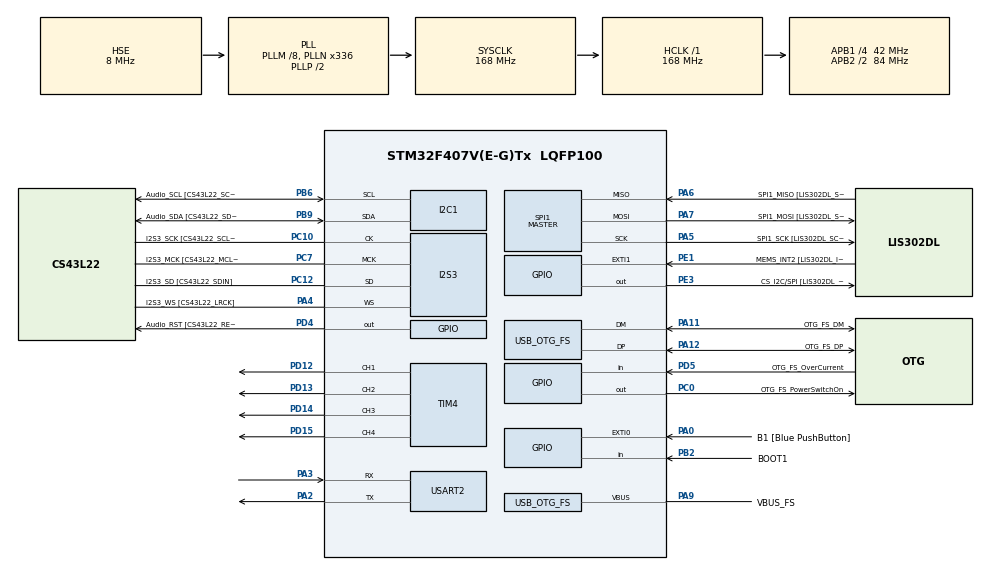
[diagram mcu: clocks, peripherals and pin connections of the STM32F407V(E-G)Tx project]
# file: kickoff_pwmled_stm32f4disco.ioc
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I2S3.AudioFreq-Half_Duplex_Master=I2S_AUDIOFREQ_96K
I2S3.ErrorAudioFreq=-2.34 %
I2S3.ErrorAudioFreq-Half_Duplex_Master=0.8 %
I2S3.FullDuplexMode=I2S_FULLDUPLEXMODE_DISABLE
I2S3.Instance=SPI$Index
I2S3.RealAudioFreq=93.75 KHz
I2S3.RealAudioFreq-Half_Duplex_Master=96.774 KHz
I2S3.VirtualMode=I2S_MODE_MASTER
Mcu.Family=STM32F4
Mcu.Name=STM32F407V(E-G)Tx
Mcu.Package=LQFP100
NVIC.OTG_FS_IRQn=true\:0\:0\:false\:false\:true\:true\:true
NVIC.PriorityGroup=NVIC_PRIORITYGROUP_0
NVIC.TIM2_IRQn=true\:0\:0\:false\:false\:true\:true\:true
NVIC.USART2_IRQn=true\:0\:0\:false\:false\:true\:true\:true
PA0-WKUP.GPIO_Label=B1 [Blue PushButton]
PA0-WKUP.GPIO_ModeDefaultEXTI=GPIO_MODE_EVT_RISING
PA0-WKUP.GPIO_PuPd=GPIO_NOPULL
PA0-WKUP.Signal=GPXTI0
PA10.GPIO_Label=OTG_FS_ID
PA10.GPIO_Mode=GPIO_MODE_AF_PP
PA10.GPIO_PuPd=GPIO_NOPULL
PA10.GPIO_Speed=GPIO_SPEED_FREQ_LOW
PA10.Signal=USB_OTG_FS_ID
PA11.GPIO_Label=OTG_FS_DM
PA11.GPIO_Mode=GPIO_MODE_AF_PP
PA11.GPIO_PuPd=GPIO_NOPULL
PA11.GPIO_Speed=GPIO_SPEED_FREQ_LOW
PA11.Mode=Host_Only
PA11.Signal=USB_OTG_FS_DM
PA12.GPIO_Label=OTG_FS_DP
PA12.GPIO_Mode=GPIO_MODE_AF_PP
PA12.GPIO_PuPd=GPIO_NOPULL
PA12.GPIO_Speed=GPIO_SPEED_FREQ_LOW
PA12.Mode=Host_Only
PA12.Signal=USB_OTG_FS_DP
PA13.GPIO_Label=SWDIO
PA13.Mode=Serial_Wire
PA13.Signal=SYS_JTMS-SWDIO
PA14.GPIO_Label=SWCLK
PA14.Mode=Serial_Wire
PA14.Signal=SYS_JTCK-SWCLK
PA2.Mode=Asynchronous
PA2.Signal=USART2_TX
PA3.Mode=Asynchronous
PA3.Signal=USART2_RX
PA4.GPIO_Label=I2S3_WS [CS43L22_LRCK]
PA4.GPIO_Mode=GPIO_MODE_AF_PP
PA4.GPIO_PuPd=GPIO_NOPULL
PA4.GPIO_Speed=GPIO_SPEED_FREQ_LOW
PA4.Mode=Half_Duplex_Master
PA4.Signal=I2S3_WS
PA5.GPIO_Label=SPI1_SCK [LIS302DL_SCL/SPC]
PA5.GPIO_Mode=GPIO_MODE_AF_PP
PA5.GPIO_PuPd=GPIO_NOPULL
PA5.GPIO_Speed=GPIO_SPEED_FREQ_LOW
PA5.Mode=Full_Duplex_Master
PA5.Signal=SPI1_SCK
PA6.GPIO_Label=SPI1_MISO [LIS302DL_SDO]
PA6.GPIO_Mode=GPIO_MODE_AF_PP
PA6.GPIO_PuPd=GPIO_NOPULL
PA6.GPIO_Speed=GPIO_SPEED_FREQ_LOW
PA6.Mode=Full_Duplex_Master
PA6.Signal=SPI1_MISO
PA7.GPIO_Label=SPI1_MOSI [LIS302DL_SDA/SDI/SDO]
PA7.GPIO_Mode=GPIO_MODE_AF_PP
PA7.GPIO_PuPd=GPIO_NOPULL
PA7.GPIO_Speed=GPIO_SPEED_FREQ_LOW
PA7.Mode=Full_Duplex_Master
PA7.Signal=SPI1_MOSI
PA9.GPIO_Label=VBUS_FS
PA9.GPIO_Mode=GPIO_MODE_INPUT
PA9.GPIO_PuPd=GPIO_NOPULL
PA9.Mode=Activate_VBUS
PA9.Signal=USB_OTG_FS_VBUS
PB10.GPIO_Label=CLK_IN [MP45DT02_CLK]
PB10.GPIO_Mode=GPIO_MODE_AF_PP
PB10.GPIO_PuPd=GPIO_NOPULL
PB10.GPIO_Speed=GPIO_SPEED_FREQ_LOW
PB10.Signal=I2S2_CK
PB2.GPIO_Label=BOOT1
PB2.GPIO_Mode=GPIO_MODE_INPUT
PB2.GPIO_PuPd=GPIO_NOPULL
PB2.Signal=GPIO_Input
PB3.GPIO_Label=SWO
PB3.Signal=SYS_JTDO-SWO
PB6.GPIO_Label=Audio_SCL [CS43L22_SCL]
PB6.GPIO_Mode=GPIO_MODE_AF_OD
PB6.GPIO_PuPd=GPIO_NOPULL
PB6.GPIO_Speed=GPIO_SPEED_FREQ_LOW
PB6.Mode=I2C
PB6.Signal=I2C1_SCL
PB9.GPIO_Label=Audio_SDA [CS43L22_SDA]
PB9.GPIO_Mode=GPIO_MODE_AF_OD
PB9.GPIO_PuPd=GPIO_NOPULL
PB9.GPIO_Speed=GPIO_SPEED_FREQ_LOW
PB9.Mode=I2C
PB9.Signal=I2C1_SDA
PC0.GPIO_Label=OTG_FS_PowerSwitchOn
PC0.GPIO_PuPd=GPIO_NOPULL
PC0.GPIO_Speed=GPIO_SPEED_FREQ_LOW
PC0.PinState=GPIO_PIN_SET
PC0.Signal=GPIO_Output
PC10.GPIO_Label=I2S3_SCK [CS43L22_SCLK]
PC10.GPIO_Mode=GPIO_MODE_AF_PP
PC10.GPIO_PuPd=GPIO_NOPULL
PC10.GPIO_Speed=GPIO_SPEED_FREQ_LOW
PC10.Mode=Half_Duplex_Master
PC10.Signal=I2S3_CK
PC12.GPIO_Label=I2S3_SD [CS43L22_SDIN]
PC12.GPIO_Mode=GPIO_MODE_AF_PP
PC12.GPIO_PuPd=GPIO_NOPULL
PC12.GPIO_Speed=GPIO_SPEED_FREQ_LOW
PC12.Mode=Half_Duplex_Master
PC12.Signal=I2S3_SD
PC14-OSC32_IN.GPIO_Label=PC14-OSC32_IN
PC14-OSC32_IN.Mode=LSE-External-Oscillator
PC14-OSC32_IN.Signal=RCC_OSC32_IN
PC15-OSC32_OUT.GPIO_Label=PC15-OSC32_OUT
PC15-OSC32_OUT.Mode=LSE-External-Oscillator
PC15-OSC32_OUT.Signal=RCC_OSC32_OUT
PC3.GPIO_Label=PDM_OUT [MP45DT02_DOUT]
PC3.GPIO_Mode=GPIO_MODE_AF_PP
PC3.GPIO_PuPd=GPIO_NOPULL
PC3.GPIO_Speed=GPIO_SPEED_FREQ_LOW
PC3.Signal=I2S2_SD
PC7.GPIO_Label=I2S3_MCK [CS43L22_MCLK]
PC7.GPIO_Mode=GPIO_MODE_AF_PP
PC7.GPIO_PuPd=GPIO_NOPULL
PC7.GPIO_Speed=GPIO_SPEED_FREQ_LOW
PC7.Mode=Master_Clock_Activated
PC7.Signal=I2S3_MCK
PD12.Signal=S_TIM4_CH1
PD13.Signal=S_TIM4_CH2
PD14.Signal=S_TIM4_CH3
PD15.Signal=S_TIM4_CH4
PD4.GPIO_Label=Audio_RST [CS43L22_RESET]
PD4.GPIO_PuPd=GPIO_NOPULL
PD4.GPIO_Speed=GPIO_SPEED_FREQ_LOW
PD4.Signal=GPIO_Output
PD5.GPIO_Label=OTG_FS_OverCurrent
PD5.GPIO_Mode=GPIO_MODE_INPUT
PD5.GPIO_PuPd=GPIO_NOPULL
PD5.Signal=GPIO_Input
PE1.GPIO_Label=MEMS_INT2 [LIS302DL_INT2]
PE1.GPIO_ModeDefaultEXTI=GPIO_MODE_EVT_RISING
PE1.GPIO_PuPd=GPIO_NOPULL
PE1.Signal=GPXTI1
PE3.GPIO_Label=CS_I2C/SPI [LIS302DL_CS_I2C/SPI]
PE3.GPIO_PuPd=GPIO_NOPULL
PE3.GPIO_Speed=GPIO_SPEED_FREQ_LOW
PE3.Signal=GPIO_Output
PH0-OSC_IN.GPIO_Label=PH0-OSC_IN
PH0-OSC_IN.Mode=HSE-External-Oscillator
PH0-OSC_IN.Signal=RCC_OSC_IN
PH1-OSC_OUT.GPIO_Label=PH1-OSC_OUT
PH1-OSC_OUT.Mode=HSE-External-Oscillator
PH1-OSC_OUT.Signal=RCC_OSC_OUT
ProjectManager.HeapSize=0x200
ProjectManager.StackSize=0x400
ProjectManager.TargetToolchain=STM32CubeIDE
RCC.48MHZClocksFreq_Value=48000000
RCC.AHBFreq_Value=168000000
RCC.APB1CLKDivider=RCC_HCLK_DIV4
RCC.APB1Freq_Value=42000000
RCC.APB1TimFreq_Value=84000000
RCC.APB2CLKDivider=RCC_HCLK_DIV2
RCC.APB2Freq_Value=84000000
RCC.APB2TimFreq_Value=168000000
RCC.CortexFreq_Value=168000000
RCC.HCLKFreq_Value=168000000
RCC.HSE_VALUE=8000000
RCC.HSI_VALUE=16000000
RCC.PLLM=8
RCC.PLLN=336
RCC.PLLQ=7
RCC.SYSCLKFreq_VALUE=168000000
RCC.SYSCLKSource=RCC_SYSCLKSOURCE_PLLCLK
RCC.VCOOutputFreq_Value=336000000
SH.S_TIM4_CH1.0=TIM4_CH1,PWM Generation1 CH1
SH.S_TIM4_CH2.0=TIM4_CH2,PWM Generation2 CH2
SH.S_TIM4_CH3.0=TIM4_CH3,PWM Generation3 CH3
SH.S_TIM4_CH4.0=TIM4_CH4,PWM Generation4 CH4
SPI1.BaudRatePrescaler-Full_Duplex_Master=SPI_BAUDRATEPRESCALER_2
SPI1.CalculateBaudRate-Full_Duplex_Master=42.0 MBits/s
SPI1.Direction=SPI_DIRECTION_2LINES
SPI1.Mode=SPI_MODE_MASTER
SPI1.Mode-Full_Duplex_Master=SPI_MODE_MASTER
SPI1.VirtualType=VM_MASTER
TIM2.AutoReloadPreload=TIM_AUTORELOAD_PRELOAD_ENABLE
TIM2.ClockDivision=TIM_CLOCKDIVISION_DIV4
TIM2.Period=42949
TIM2.Prescaler=256
TIM4.Channel-PWM\ Generation1\ CH1=TIM_CHANNEL_1
TIM4.Channel-PWM\ Generation2\ CH2=TIM_CHANNEL_2
TIM4.Channel-PWM\ Generation3\ CH3=TIM_CHANNEL_3
TIM4.Channel-PWM\ Generation4\ CH4=TIM_CHANNEL_4
USART2.VirtualMode=VM_ASYNC
USB_HOST.BSP.number=1
USB_HOST.USBH_HandleTypeDef-CDC_FS=hUsbHostFS
USB_HOST.VirtualModeFS=Cdc
USB_HOST0.BSP.STBoard=false
USB_HOST0.BSP.api=Unknown
USB_HOST0.BSP.i2caddr=0
USB_HOST0.BSP.i2creg=0
USB_HOST0.BSP.instance=PC0
USB_HOST0.BSP.ip=GPIO
USB_HOST0.BSP.mode=Output
USB_HOST0.BSP.name=Drive_VBUS_FS
USB_HOST0.BSP.solution=PC0
USB_OTG_FS.VirtualMode=Host_Only
USB_OTG_FS.phy_itface=HCD_PHY_EMBEDDED
VP_TIM2_VS_ClockSourceINT.Mode=Internal
VP_TIM4_VS_ClockSourceINT.Mode=Internal
VP_USB_HOST_VS_USB_HOST_CDC_FS.Mode=CDC_FS
board=STM32F407G-DISC1

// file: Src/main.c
/* USER CODE BEGIN Header */
/**
  ******************************************************************************
  * @file           : main.c
  * @brief          : Main program body
  ******************************************************************************
  * @attention
  *
  * <h2><center>&copy; Copyright (c) 2020 STMicroelectronics.
  * All rights reserved.</center></h2>
  *
  * This software component is licensed by ST under Ultimate Liberty license
  * SLA0044, the "License"; You may not use this file except in compliance with
  * the License. You may obtain a copy of the License at:
  *                             www.st.com/SLA0044
  *
  ******************************************************************************
  */
/* USER CODE END Header */
#include "main.h"
#include "usb_host.h"

I2C_HandleTypeDef hi2c1;

I2S_HandleTypeDef hi2s3;

SPI_HandleTypeDef hspi1;

TIM_HandleTypeDef htim2;
TIM_HandleTypeDef htim4;

UART_HandleTypeDef huart2;

void SystemClock_Config(void);
static void MX_GPIO_Init(void);
static void MX_I2C1_Init(void);
static void MX_I2S3_Init(void);
static void MX_SPI1_Init(void);
static void MX_TIM2_Init(void);
static void MX_USART2_UART_Init(void);
static void MX_TIM4_Init(void);
void MX_USB_HOST_Process(void);

int main(void)
{

  /* MCU Configuration--------------------------------------------------------*/

  /* Reset of all peripherals, Initializes the Flash interface and the Systick. */
  HAL_Init();

  /* Configure the system clock */
  SystemClock_Config();

  /* Initialize all configured peripherals */
  MX_GPIO_Init();
  MX_I2C1_Init();
  MX_I2S3_Init();
  MX_SPI1_Init();
  MX_USB_HOST_Init();
  MX_TIM2_Init();
  MX_USART2_UART_Init();
  MX_TIM4_Init();

  /* Infinite loop */
  while (1)
  {
    MX_USB_HOST_Process();

    /* USER CODE BEGIN 3 */
    {
    	static uint32_t count = 0;
    	if (++count >= 0x70)
    	{
    		static  uint32_t brightness_ch1 = 0;
    		static  int16_t brightness_chg_ch1 = 1;
    		static  uint32_t brightness_ch2 = 0x8000;
    		static  int16_t brightness_chg_ch2 = 1;
    		static  uint32_t brightness_ch3 = 0;
    		static  int16_t brightness_chg_ch3 = 1;
    		static  uint32_t brightness_ch4 = 0x8000;
    		static  int16_t brightness_chg_ch4 = 1;

    		TIM_OC_InitTypeDef sConfigOC = {0};
			sConfigOC.OCMode = TIM_OCMODE_PWM1;
			sConfigOC.Pulse = 0;
			sConfigOC.OCPolarity = TIM_OCPOLARITY_HIGH;
			sConfigOC.OCFastMode = TIM_OCFAST_DISABLE;

    		count = 0;

//    		HAL_TIM_PWM_Stop(&htim4, TIM_CHANNEL_1);
			sConfigOC.Pulse = brightness_ch1;
			brightness_ch1 += brightness_chg_ch1;
			if (brightness_ch1 <= 0x100)
			{
				brightness_chg_ch1 = 1;
			}
			else if(brightness_ch1 >= 0x8000)
			{
				brightness_chg_ch1 = -1;
			}

			if (HAL_TIM_PWM_ConfigChannel(&htim4, &sConfigOC, TIM_CHANNEL_1) != HAL_OK)
			{
				Error_Handler();
			}
    		HAL_TIM_PWM_Start(&htim4, TIM_CHANNEL_1);

//    		HAL_TIM_PWM_Stop(&htim4, TIM_CHANNEL_2);
			sConfigOC.Pulse = brightness_ch2;
			brightness_ch2 += brightness_chg_ch2;
			if (brightness_ch2 <= 0x100)
			{
				brightness_chg_ch2 = 1;
			}
			else if(brightness_ch2 >= 0x8000)
			{
				brightness_chg_ch2 = -1;
			}

			if (HAL_TIM_PWM_ConfigChannel(&htim4, &sConfigOC, TIM_CHANNEL_2) != HAL_OK)
			{
				Error_Handler();
			}
    		HAL_TIM_PWM_Start(&htim4, TIM_CHANNEL_2);

//    		HAL_TIM_PWM_Stop(&htim4, TIM_CHANNEL_3);
			sConfigOC.Pulse = brightness_ch3;
			brightness_ch3 += brightness_chg_ch3;
			if (brightness_ch3 <= 0x100)
			{
				brightness_chg_ch3 = 1;
			}
			else if(brightness_ch3 >= 0x8000)
			{
				brightness_chg_ch3 = -1;
			}

			if (HAL_TIM_PWM_ConfigChannel(&htim4, &sConfigOC, TIM_CHANNEL_3) != HAL_OK)
			{
				Error_Handler();
			}
    		HAL_TIM_PWM_Start(&htim4, TIM_CHANNEL_3);

//    		HAL_TIM_PWM_Stop(&htim4, TIM_CHANNEL_4);
			sConfigOC.Pulse = brightness_ch4;
			brightness_ch4 += brightness_chg_ch4;
			if (brightness_ch4 <= 0x100)
			{
				brightness_chg_ch4 = 1;
			}
			else if(brightness_ch4 >= 0x8000)
			{
				brightness_chg_ch4 = -1;
			}

			if (HAL_TIM_PWM_ConfigChannel(&htim4, &sConfigOC, TIM_CHANNEL_4) != HAL_OK)
			{
				Error_Handler();
			}
    		HAL_TIM_PWM_Start(&htim4, TIM_CHANNEL_4);

    		HAL_UART_Transmit_IT(&huart2, "HAL_TIM_PWM changing \n\r", sizeof("HAL_TIM_PWM changing \n\r"));

    	}
    }
  }
  /* USER CODE END 3 */
}

void SystemClock_Config(void)
{
  RCC_OscInitTypeDef RCC_OscInitStruct = {0};
  RCC_ClkInitTypeDef RCC_ClkInitStruct = {0};
  RCC_PeriphCLKInitTypeDef PeriphClkInitStruct = {0};

  /** Configure the main internal regulator output voltage
  */
  __HAL_RCC_PWR_CLK_ENABLE();
  __HAL_PWR_VOLTAGESCALING_CONFIG(PWR_REGULATOR_VOLTAGE_SCALE1);
  /** Initializes the RCC Oscillators according to the specified parameters
  * in the RCC_OscInitTypeDef structure.
  */
  RCC_OscInitStruct.OscillatorType = RCC_OSCILLATORTYPE_HSE;
  RCC_OscInitStruct.HSEState = RCC_HSE_ON;
  RCC_OscInitStruct.PLL.PLLState = RCC_PLL_ON;
  RCC_OscInitStruct.PLL.PLLSource = RCC_PLLSOURCE_HSE;
  RCC_OscInitStruct.PLL.PLLM = 8;
  RCC_OscInitStruct.PLL.PLLN = 336;
  RCC_OscInitStruct.PLL.PLLP = RCC_PLLP_DIV2;
  RCC_OscInitStruct.PLL.PLLQ = 7;
  if (HAL_RCC_OscConfig(&RCC_OscInitStruct) != HAL_OK)
  {
    Error_Handler();
  }
  /** Initializes the CPU, AHB and APB buses clocks
  */
  RCC_ClkInitStruct.ClockType = RCC_CLOCKTYPE_HCLK|RCC_CLOCKTYPE_SYSCLK
                              |RCC_CLOCKTYPE_PCLK1|RCC_CLOCKTYPE_PCLK2;
  RCC_ClkInitStruct.SYSCLKSource = RCC_SYSCLKSOURCE_PLLCLK;
  RCC_ClkInitStruct.AHBCLKDivider = RCC_SYSCLK_DIV1;
  RCC_ClkInitStruct.APB1CLKDivider = RCC_HCLK_DIV4;
  RCC_ClkInitStruct.APB2CLKDivider = RCC_HCLK_DIV2;

  if (HAL_RCC_ClockConfig(&RCC_ClkInitStruct, FLASH_LATENCY_5) != HAL_OK)
  {
    Error_Handler();
  }
  PeriphClkInitStruct.PeriphClockSelection = RCC_PERIPHCLK_I2S;
  PeriphClkInitStruct.PLLI2S.PLLI2SN = 192;
  PeriphClkInitStruct.PLLI2S.PLLI2SR = 2;
  if (HAL_RCCEx_PeriphCLKConfig(&PeriphClkInitStruct) != HAL_OK)
  {
    Error_Handler();
  }
}

static void MX_I2C1_Init(void)
{

  hi2c1.Instance = I2C1;
  hi2c1.Init.ClockSpeed = 100000;
  hi2c1.Init.DutyCycle = I2C_DUTYCYCLE_2;
  hi2c1.Init.OwnAddress1 = 0;
  hi2c1.Init.AddressingMode = I2C_ADDRESSINGMODE_7BIT;
  hi2c1.Init.DualAddressMode = I2C_DUALADDRESS_DISABLE;
  hi2c1.Init.OwnAddress2 = 0;
  hi2c1.Init.GeneralCallMode = I2C_GENERALCALL_DISABLE;
  hi2c1.Init.NoStretchMode = I2C_NOSTRETCH_DISABLE;
  if (HAL_I2C_Init(&hi2c1) != HAL_OK)
  {
    Error_Handler();
  }

}

static void MX_I2S3_Init(void)
{

  hi2s3.Instance = SPI3;
  hi2s3.Init.Mode = I2S_MODE_MASTER_TX;
  hi2s3.Init.Standard = I2S_STANDARD_PHILIPS;
  hi2s3.Init.DataFormat = I2S_DATAFORMAT_16B;
  hi2s3.Init.MCLKOutput = I2S_MCLKOUTPUT_ENABLE;
  hi2s3.Init.AudioFreq = I2S_AUDIOFREQ_96K;
  hi2s3.Init.CPOL = I2S_CPOL_LOW;
  hi2s3.Init.ClockSource = I2S_CLOCK_PLL;
  hi2s3.Init.FullDuplexMode = I2S_FULLDUPLEXMODE_DISABLE;
  if (HAL_I2S_Init(&hi2s3) != HAL_OK)
  {
    Error_Handler();
  }

}

static void MX_SPI1_Init(void)
{

  /* SPI1 parameter configuration*/
  hspi1.Instance = SPI1;
  hspi1.Init.Mode = SPI_MODE_MASTER;
  hspi1.Init.Direction = SPI_DIRECTION_2LINES;
  hspi1.Init.DataSize = SPI_DATASIZE_8BIT;
  hspi1.Init.CLKPolarity = SPI_POLARITY_LOW;
  hspi1.Init.CLKPhase = SPI_PHASE_1EDGE;
  hspi1.Init.NSS = SPI_NSS_SOFT;
  hspi1.Init.BaudRatePrescaler = SPI_BAUDRATEPRESCALER_2;
  hspi1.Init.FirstBit = SPI_FIRSTBIT_MSB;
  hspi1.Init.TIMode = SPI_TIMODE_DISABLE;
  hspi1.Init.CRCCalculation = SPI_CRCCALCULATION_DISABLE;
  hspi1.Init.CRCPolynomial = 10;
  if (HAL_SPI_Init(&hspi1) != HAL_OK)
  {
    Error_Handler();
  }

}

static void MX_TIM2_Init(void)
{

  TIM_ClockConfigTypeDef sClockSourceConfig = {0};
  TIM_MasterConfigTypeDef sMasterConfig = {0};

  htim2.Instance = TIM2;
  htim2.Init.Prescaler = 256;
  htim2.Init.CounterMode = TIM_COUNTERMODE_UP;
  htim2.Init.Period = 42949;
  htim2.Init.ClockDivision = TIM_CLOCKDIVISION_DIV4;
  htim2.Init.AutoReloadPreload = TIM_AUTORELOAD_PRELOAD_ENABLE;
  if (HAL_TIM_Base_Init(&htim2) != HAL_OK)
  {
    Error_Handler();
  }
  sClockSourceConfig.ClockSource = TIM_CLOCKSOURCE_INTERNAL;
  if (HAL_TIM_ConfigClockSource(&htim2, &sClockSourceConfig) != HAL_OK)
  {
    Error_Handler();
  }
  sMasterConfig.MasterOutputTrigger = TIM_TRGO_RESET;
  sMasterConfig.MasterSlaveMode = TIM_MASTERSLAVEMODE_DISABLE;
  if (HAL_TIMEx_MasterConfigSynchronization(&htim2, &sMasterConfig) != HAL_OK)
  {
    Error_Handler();
  }

}

static void MX_TIM4_Init(void)
{

  TIM_ClockConfigTypeDef sClockSourceConfig = {0};
  TIM_MasterConfigTypeDef sMasterConfig = {0};
  TIM_OC_InitTypeDef sConfigOC = {0};

  htim4.Instance = TIM4;
  htim4.Init.Prescaler = 0;
  htim4.Init.CounterMode = TIM_COUNTERMODE_UP;
  htim4.Init.Period = 65535;
  htim4.Init.ClockDivision = TIM_CLOCKDIVISION_DIV1;
  htim4.Init.AutoReloadPreload = TIM_AUTORELOAD_PRELOAD_DISABLE;
  if (HAL_TIM_Base_Init(&htim4) != HAL_OK)
  {
    Error_Handler();
  }
  sClockSourceConfig.ClockSource = TIM_CLOCKSOURCE_INTERNAL;
  if (HAL_TIM_ConfigClockSource(&htim4, &sClockSourceConfig) != HAL_OK)
  {
    Error_Handler();
  }
  if (HAL_TIM_PWM_Init(&htim4) != HAL_OK)
  {
    Error_Handler();
  }
  sMasterConfig.MasterOutputTrigger = TIM_TRGO_RESET;
  sMasterConfig.MasterSlaveMode = TIM_MASTERSLAVEMODE_DISABLE;
  if (HAL_TIMEx_MasterConfigSynchronization(&htim4, &sMasterConfig) != HAL_OK)
  {
    Error_Handler();
  }
  sConfigOC.OCMode = TIM_OCMODE_PWM1;
  sConfigOC.Pulse = 0;
  sConfigOC.OCPolarity = TIM_OCPOLARITY_HIGH;
  sConfigOC.OCFastMode = TIM_OCFAST_DISABLE;
  if (HAL_TIM_PWM_ConfigChannel(&htim4, &sConfigOC, TIM_CHANNEL_1) != HAL_OK)
  {
    Error_Handler();
  }
  if (HAL_TIM_PWM_ConfigChannel(&htim4, &sConfigOC, TIM_CHANNEL_2) != HAL_OK)
  {
    Error_Handler();
  }
  if (HAL_TIM_PWM_ConfigChannel(&htim4, &sConfigOC, TIM_CHANNEL_3) != HAL_OK)
  {
    Error_Handler();
  }
  if (HAL_TIM_PWM_ConfigChannel(&htim4, &sConfigOC, TIM_CHANNEL_4) != HAL_OK)
  {
    Error_Handler();
  }
  HAL_TIM_MspPostInit(&htim4);

}

static void MX_USART2_UART_Init(void)
{

  huart2.Instance = USART2;
  huart2.Init.BaudRate = 115200;
  huart2.Init.WordLength = UART_WORDLENGTH_8B;
  huart2.Init.StopBits = UART_STOPBITS_1;
  huart2.Init.Parity = UART_PARITY_NONE;
  huart2.Init.Mode = UART_MODE_TX_RX;
  huart2.Init.HwFlowCtl = UART_HWCONTROL_NONE;
  huart2.Init.OverSampling = UART_OVERSAMPLING_16;
  if (HAL_UART_Init(&huart2) != HAL_OK)
  {
    Error_Handler();
  }

}

static void MX_GPIO_Init(void)
{
  GPIO_InitTypeDef GPIO_InitStruct = {0};

  /* GPIO Ports Clock Enable */
  __HAL_RCC_GPIOE_CLK_ENABLE();
  __HAL_RCC_GPIOC_CLK_ENABLE();
  __HAL_RCC_GPIOH_CLK_ENABLE();
  __HAL_RCC_GPIOA_CLK_ENABLE();
  __HAL_RCC_GPIOB_CLK_ENABLE();
  __HAL_RCC_GPIOD_CLK_ENABLE();

  /*Configure GPIO pin Output Level */
  HAL_GPIO_WritePin(CS_I2C_SPI_GPIO_Port, CS_I2C_SPI_Pin, GPIO_PIN_RESET);

  /*Configure GPIO pin Output Level */
  HAL_GPIO_WritePin(OTG_FS_PowerSwitchOn_GPIO_Port, OTG_FS_PowerSwitchOn_Pin, GPIO_PIN_SET);

  /*Configure GPIO pin Output Level */
  HAL_GPIO_WritePin(Audio_RST_GPIO_Port, Audio_RST_Pin, GPIO_PIN_RESET);

  /*Configure GPIO pin : CS_I2C_SPI_Pin */
  GPIO_InitStruct.Pin = CS_I2C_SPI_Pin;
  GPIO_InitStruct.Mode = GPIO_MODE_OUTPUT_PP;
  GPIO_InitStruct.Pull = GPIO_NOPULL;
  GPIO_InitStruct.Speed = GPIO_SPEED_FREQ_LOW;
  HAL_GPIO_Init(CS_I2C_SPI_GPIO_Port, &GPIO_InitStruct);

  /*Configure GPIO pin : OTG_FS_PowerSwitchOn_Pin */
  GPIO_InitStruct.Pin = OTG_FS_PowerSwitchOn_Pin;
  GPIO_InitStruct.Mode = GPIO_MODE_OUTPUT_PP;
  GPIO_InitStruct.Pull = GPIO_NOPULL;
  GPIO_InitStruct.Speed = GPIO_SPEED_FREQ_LOW;
  HAL_GPIO_Init(OTG_FS_PowerSwitchOn_GPIO_Port, &GPIO_InitStruct);

  /*Configure GPIO pin : PDM_OUT_Pin */
  GPIO_InitStruct.Pin = PDM_OUT_Pin;
  GPIO_InitStruct.Mode = GPIO_MODE_AF_PP;
  GPIO_InitStruct.Pull = GPIO_NOPULL;
  GPIO_InitStruct.Speed = GPIO_SPEED_FREQ_LOW;
  GPIO_InitStruct.Alternate = GPIO_AF5_SPI2;
  HAL_GPIO_Init(PDM_OUT_GPIO_Port, &GPIO_InitStruct);

  /*Configure GPIO pin : B1_Pin */
  GPIO_InitStruct.Pin = B1_Pin;
  GPIO_InitStruct.Mode = GPIO_MODE_EVT_RISING;
  GPIO_InitStruct.Pull = GPIO_NOPULL;
  HAL_GPIO_Init(B1_GPIO_Port, &GPIO_InitStruct);

  /*Configure GPIO pin : BOOT1_Pin */
  GPIO_InitStruct.Pin = BOOT1_Pin;
  GPIO_InitStruct.Mode = GPIO_MODE_INPUT;
  GPIO_InitStruct.Pull = GPIO_NOPULL;
  HAL_GPIO_Init(BOOT1_GPIO_Port, &GPIO_InitStruct);

  /*Configure GPIO pin : CLK_IN_Pin */
  GPIO_InitStruct.Pin = CLK_IN_Pin;
  GPIO_InitStruct.Mode = GPIO_MODE_AF_PP;
  GPIO_InitStruct.Pull = GPIO_NOPULL;
  GPIO_InitStruct.Speed = GPIO_SPEED_FREQ_LOW;
  GPIO_InitStruct.Alternate = GPIO_AF5_SPI2;
  HAL_GPIO_Init(CLK_IN_GPIO_Port, &GPIO_InitStruct);

  /*Configure GPIO pin : Audio_RST_Pin */
  GPIO_InitStruct.Pin = Audio_RST_Pin;
  GPIO_InitStruct.Mode = GPIO_MODE_OUTPUT_PP;
  GPIO_InitStruct.Pull = GPIO_NOPULL;
  GPIO_InitStruct.Speed = GPIO_SPEED_FREQ_LOW;
  HAL_GPIO_Init(Audio_RST_GPIO_Port, &GPIO_InitStruct);

  /*Configure GPIO pin : OTG_FS_OverCurrent_Pin */
  GPIO_InitStruct.Pin = OTG_FS_OverCurrent_Pin;
  GPIO_InitStruct.Mode = GPIO_MODE_INPUT;
  GPIO_InitStruct.Pull = GPIO_NOPULL;
  HAL_GPIO_Init(OTG_FS_OverCurrent_GPIO_Port, &GPIO_InitStruct);

  /*Configure GPIO pin : MEMS_INT2_Pin */
  GPIO_InitStruct.Pin = MEMS_INT2_Pin;
  GPIO_InitStruct.Mode = GPIO_MODE_EVT_RISING;
  GPIO_InitStruct.Pull = GPIO_NOPULL;
  HAL_GPIO_Init(MEMS_INT2_GPIO_Port, &GPIO_InitStruct);

}

void Error_Handler(void)
{
}

/************************ (C) COPYRIGHT STMicroelectronics *****END OF FILE****/
